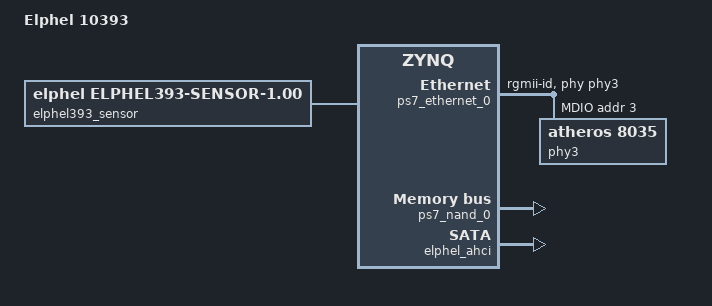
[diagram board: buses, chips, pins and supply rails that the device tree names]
/* welcome to elphel393 device tree */
/include/ "zynq-base.dtsi"
/include/ "bootargs.dtsi"

/ {
	model = "Elphel 10393";
	
	ps7_axi_interconnect_0: amba@0 {
		
		ps7_ethernet_0: ps7-ethernet@e000b000 {
			local-mac-address = [00 0e 64 10 00 00];
			phy-handle = <&phy3>;
			phy-mode = "rgmii-id";
			mdio {
				#address-cells = <1>;
				#size-cells = <0>;
				phy3: phy@3 {
					compatible = "atheros,8035";
					device_type = "ethernet-phy";
					reg = <0x3>;
				};
			};
		};
		
		ps7_smcc_0: ps7-smcc@e000e000 {
			ps7_nand_0: ps7-nand@e1000000 {
				compatible = "arm,pl353-nand-r2p1";
				reg = < 0xe1000000 0x1000000 >;
				/*arm,nand-clk-freq-hz = <0x5f5e100>;*/
				arm,nand-width = <0x8>;
				arm,nand-cycle-t0 = <0x4>;
				arm,nand-cycle-t1 = <0x4>;
				arm,nand-cycle-t2 = <0x1>;
				arm,nand-cycle-t3 = <0x2>;
				arm,nand-cycle-t4 = <0x2>;
				arm,nand-cycle-t5 = <0x2>;
				arm,nand-cycle-t6 = <0x4>;
				#address-cells = <0x1>;
				#size-cells = <0x1>;
				partition@0 {
					label = "u-boot-spl";
					reg = <0x0 0x100000>;/*1MB for backup spl image(s)*/
				};
				partition@1 {
					label = "u-boot";
					reg = <0x100000 0x400000>;/*4MB*/
				};
				partition@2 {
					label = "device-tree";
					reg = <0x500000 0x100000>;/*1MB*/
				};
				partition@3 {
					label = "kernel";
					reg = <0x600000 0x1000000>;/*16MB*/
				};
				partition@4 {
					label = "rootfs";
					reg = <0x1600000 0x10000000>;/*256MB*/
				};
			} ;
		} ;
		
		elphel_ahci: elphel-ahci@80000000 {
			compatible = "elphel,elphel-ahci";
			interrupt-parent = <&ps7_scugic_0>;
			interrupts = <0x0 0x1d 0x4>;
			reg = <0x80000000 0x1000>;
			clb_offs = <0x800>;
			fb_offs = <0xc00>;
		};
	};
	
	elphel393_pwr: elphel393-pwr@0 {
		compatible = "elphel,elphel393-pwr-1.00";
		elphel393_pwr,simulate=          <0>;
		elphel393_pwr,i2c_chips=         <0x20 0x21 0x34>;
		elphel393_pwr,vp15.r1=           <357000>;
		elphel393_pwr,vp15.r2=           <287000>;
		elphel393_pwr,vcc_sens01.r1=     <787000>;
		elphel393_pwr,vcc_sens01.r2=     <287000>;
		elphel393_pwr,vcc_sens23.r1=     <787000>;
		elphel393_pwr,vcc_sens23.r2=     <287000>;
		elphel393_pwr,vp5.r1=            <523000>;
		elphel393_pwr,vp5.r2=            <100000>;
		elphel393_pwr,vldo18.r1=         <357000>;
		elphel393_pwr,vldo18.r2=         <287000>;
		elphel393_pwr,channels_disable= "vcc_sens23 vp33sens23";
		elphel393_pwr,pinstrapped_oven=  <1>;
		elphel393_pwr,vcc_sens01_mv=     <2800>; /* set sensor intreface voltage to 2.8V */
		elphel393_pwr,channels_enable=  "vcc_sens01 vp33sens01";
	} ;
	
	elphel393_mem: elphel393-mem@0 {
		compatible = "elphel,elphel393-mem-1.00";
		memsize = <25600>;
	} ;
	
	elphel393_init: elphel393-init {
		compatible = "elphel,elphel393-init-1.00";
	} ;
	
	elphel393_circbuf: elphel393-circbuf {
		compatible = "elphel,elphel393-circbuf-1.00";
		/* set this to "disable" to disable drivers */
		status = "okay";
		interrupt-parent = <&ps7_scugic_0>;
		interrupts = <0x0 0x34 0x4>, <0x0 0x35 0x4>, <0x0 0x36 0x4>, <0x0 0x37 0x4>, <0x0 0x38 0x4>, <0x0 0x39 0x4>, <0x0 0x3A 0x4>, <0x0 0x3B 0x4>;
		interrupt-names = "frame_sync_irq_0", "frame_sync_irq_1", "frame_sync_irq_2", "frame_sync_irq_3",
		                  "compr_irq_0", "compr_irq_1", "compr_irq_2", "compr_irq_3";
	};
	
	elphel393_framepars: elphel393-framepars {
		compatible = "elphel,elphel393-framepars-1.00";
		/* set this to "disable" to disable drivers */
		status = "okay";
	};
	
	elphel393_sensor: elphel393-sensor {
		compatible = "elphel,elphel393-sensor-1.00";
		/* set this to "disable" to disable drivers */
		status = "okay";
	};
};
